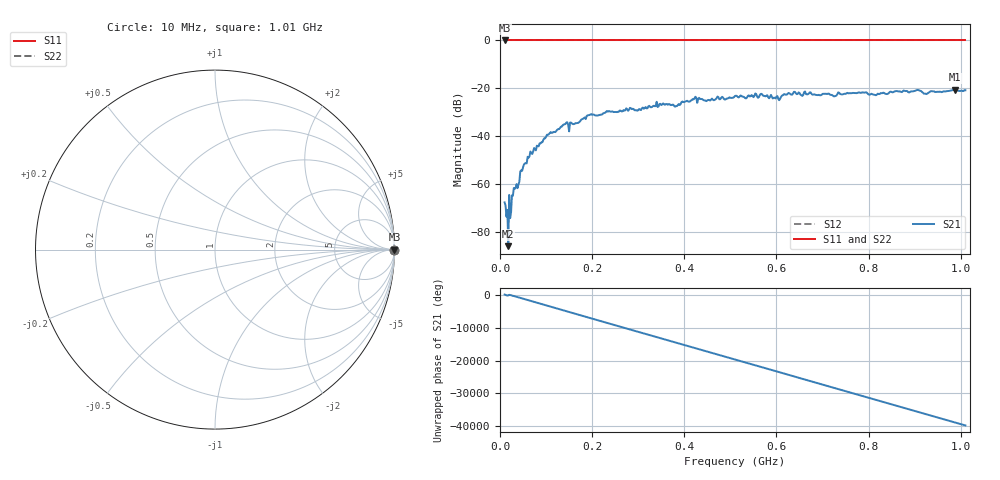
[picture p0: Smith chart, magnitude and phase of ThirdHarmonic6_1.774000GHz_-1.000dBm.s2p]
! 8/16/2025 9:26:18 PM
! C:\ANRITSUVNA\TEMP\TEMP.S2P
! CHANNEL.1
! TR.MEASUREMENT
! RAW.DATA
! RF.CORRECTION.OFF
! AVERAGING.OFF
! IF.BANDWIDTH: 5KHZ
! SWEEPTYPE:  FREQ.SWEEP(Linear)
! Reference Plane Port Info
! PORT:  PORT1  PORT2
! DISTANCE:  0  m  0  m
! TIME:  0  s  0  s
! PHASE.OFFSET:  0  deg.  0  deg.
! LOSS:  0  dB  0  dB
! REF.LOSS:  0  dB  0  dB
! REF.FREQ:  0  Hz  0  Hz
! Power Info
! POWER:  -20  dBm  -20  dBm
! EFF.POWER:  -20  dBm  -20  dBm
! SOURCE.ATTEN:  0  dB  0  dB
! TEST.ATTEN:  0  dB  0  dB
# GHZ S RI R 50.0
! FREQ.GHZ  S11RE  S11IM  S21RE  S21IM  S12RE  S12IM  S22RE  S22IM
!; PortSelection: Port_12
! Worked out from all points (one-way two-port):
!   501 points, 10 MHz to 1.01 GHz, reference 50 ohm
!   highest |S21| = -20.57 dB at 988 MHz (marker M1); lowest = -85.9 dB at 18 MHz (marker M2)
!   lowest |S11| = 0.0 dB at 10 MHz (marker M3)
!   |S11| at or under -10 dB: nowhere
!   |S22| runs from 0.0 to 0.0 dB; largest |S21 - S12| = 1.1
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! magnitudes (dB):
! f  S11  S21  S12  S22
! 10 MHz  0.0  -67.6  0.0  0.0
! 14 MHz  0.0  -73.6  0.0  0.0
! 18 MHz  0.0  -85.9  0.0  0.0
! 22 MHz  0.0  -74.2  0.0  0.0
! 30 MHz  0.0  -61.6  0.0  0.0
! 38 MHz  0.0  -61.7  0.0  0.0
! 48 MHz  0.0  -54.5  0.0  0.0
! 64 MHz  0.0  -48.4  0.0  0.0
! 106 MHz  0.0  -39.1  0.0  0.0
! 142 MHz  0.0  -34.9  0.0  0.0
! 178 MHz  0.0  -32.9  0.0  0.0
! 194 MHz  0.0  -31.2  0.0  0.0
! 344 MHz  0.0  -27.6  0.0  0.0
! 382 MHz  0.0  -27.4  0.0  0.0
! 422 MHz  0.0  -24.2  0.0  0.0
! 510 MHz  0.0  -23.2  0.0  0.0
! 606 MHz  0.0  -24.9  0.0  0.0
! 638 MHz  0.0  -21.5  0.0  0.0
! 678 MHz  0.0  -22.7  0.0  0.0
! 844 MHz  0.0  -21.9  0.0  0.0
! 988 MHz  0.0  -20.6  0.0  0.0
! 1.01 GHz  0.0  -20.8  0.0  0.0
